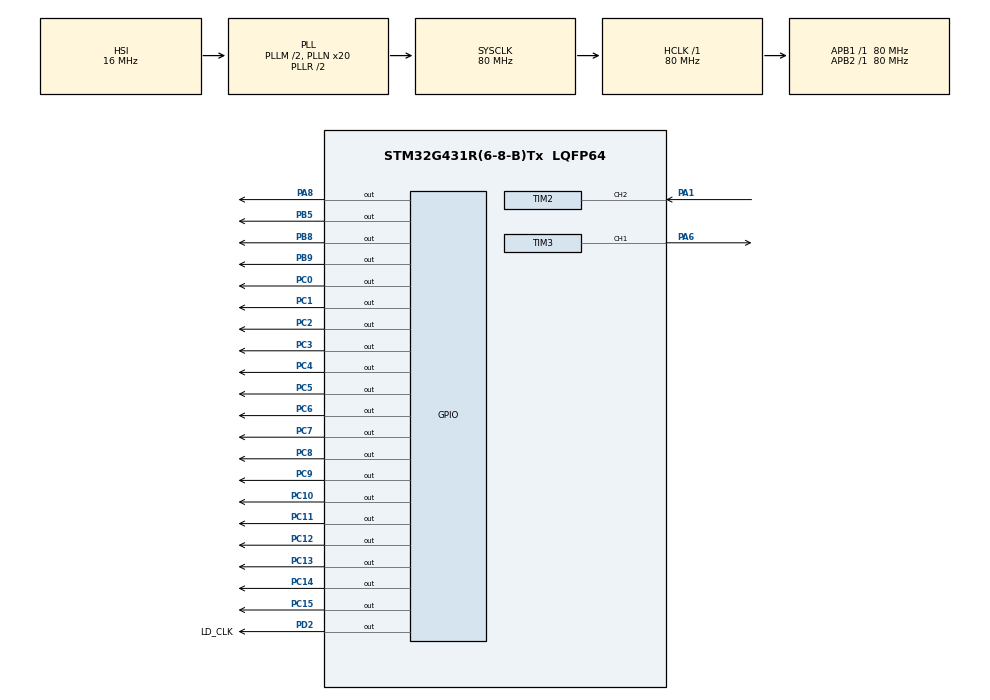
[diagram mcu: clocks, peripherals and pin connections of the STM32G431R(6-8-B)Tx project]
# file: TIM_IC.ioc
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Mcu.Family=STM32G4
Mcu.Name=STM32G431R(6-8-B)Tx
Mcu.Package=LQFP64
NVIC.PriorityGroup=NVIC_PRIORITYGROUP_4
NVIC.TIM2_IRQn=true\:0\:0\:false\:false\:true\:true\:true
NVIC.TIM3_IRQn=true\:0\:0\:false\:false\:true\:true\:true
PA1.Signal=S_TIM2_CH2
PA6.Signal=S_TIM3_CH1
PA8.Signal=GPIO_Output
PB5.Signal=GPIO_Output
PB8-BOOT0.Signal=GPIO_Output
PB9.Signal=GPIO_Output
PC0.Signal=GPIO_Output
PC1.Signal=GPIO_Output
PC10.Signal=GPIO_Output
PC11.Signal=GPIO_Output
PC12.Signal=GPIO_Output
PC13.Signal=GPIO_Output
PC14-OSC32_IN.Signal=GPIO_Output
PC15-OSC32_OUT.Signal=GPIO_Output
PC2.Signal=GPIO_Output
PC3.Signal=GPIO_Output
PC4.Signal=GPIO_Output
PC5.Signal=GPIO_Output
PC6.Signal=GPIO_Output
PC7.Signal=GPIO_Output
PC8.Signal=GPIO_Output
PC9.Signal=GPIO_Output
PD2.GPIO_Label=LD_CLK
PD2.Signal=GPIO_Output
PF0-OSC_IN.Mode=HSE-External-Oscillator
PF0-OSC_IN.Signal=RCC_OSC_IN
PF1-OSC_OUT.Mode=HSE-External-Oscillator
PF1-OSC_OUT.Signal=RCC_OSC_OUT
ProjectManager.HeapSize=0x200
ProjectManager.StackSize=0x400
ProjectManager.TargetToolchain=MDK-ARM V5.27
RCC.ADC12Freq_Value=80000000
RCC.AHBFreq_Value=80000000
RCC.APB1Freq_Value=80000000
RCC.APB1TimFreq_Value=80000000
RCC.APB2Freq_Value=80000000
RCC.APB2TimFreq_Value=80000000
RCC.CortexFreq_Value=80000000
RCC.EXTERNAL_CLOCK_VALUE=12288000
RCC.HCLKFreq_Value=80000000
RCC.HSE_VALUE=24000000
RCC.HSI48_VALUE=48000000
RCC.HSI_VALUE=16000000
RCC.LSE_VALUE=32768
RCC.PLLM=RCC_PLLM_DIV2
RCC.PLLN=20
RCC.SYSCLKFreq_VALUE=80000000
RCC.SYSCLKSource=RCC_SYSCLKSOURCE_PLLCLK
RCC.USBFreq_Value=80000000
RCC.VCOOutputFreq_Value=160000000
SH.S_TIM2_CH2.0=TIM2_CH2,Input_Capture2_from_TI2
SH.S_TIM3_CH1.0=TIM3_CH1,PWM Generation1 CH1
TIM2.Channel-Input_Capture2_from_TI2=TIM_CHANNEL_2
TIM2.PeriodNoDither=0xffffffff
TIM3.Channel-PWM\ Generation1\ CH1=TIM_CHANNEL_1
TIM3.PeriodNoDither=10-1
TIM3.Prescaler=80-1
TIM3.PulseNoDither_1=2
VP_SYS_VS_DBSignals.Mode=DisableDeadBatterySignals
VP_TIM2_VS_ClockSourceINT.Mode=Internal
VP_TIM3_VS_ClockSourceINT.Mode=Internal
board=custom

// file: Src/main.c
/* USER CODE BEGIN Header */
/**
  ******************************************************************************
  * @file           : main.c
  * @brief          : Main program body
  ******************************************************************************
  * @attention
  *
  * <h2><center>&copy; Copyright (c) 2021 STMicroelectronics.
  * All rights reserved.</center></h2>
  *
  * This software component is licensed by ST under BSD 3-Clause license,
  * the "License"; You may not use this file except in compliance with the
  * License. You may obtain a copy of the License at:
  *                        opensource.org/licenses/BSD-3-Clause
  *
  ******************************************************************************
  */
/* USER CODE END Header */
#include "main.h"

/* USER CODE BEGIN Includes */
#include <stdio.h>
#include "lcd.h"
/* USER CODE END Includes */

TIM_HandleTypeDef htim2;
TIM_HandleTypeDef htim3;

/* USER CODE BEGIN PV */
/* Captured Value */
__IO uint32_t            uwIC2Value = 0;
/* Duty Cycle Value */
__IO uint32_t            uwDutyCycle = 0;
/* Frequency Value */
__IO uint32_t            uwFrequency = 0;

uint8_t buf[30];
/* USER CODE END PV */

void SystemClock_Config(void);
static void MX_GPIO_Init(void);
static void MX_TIM2_Init(void);
static void MX_TIM3_Init(void);

int main(void)
{

  /* MCU Configuration--------------------------------------------------------*/

  /* Reset of all peripherals, Initializes the Flash interface and the Systick. */
  HAL_Init();

  /* Configure the system clock */
  SystemClock_Config();

  /* Initialize all configured peripherals */
  MX_GPIO_Init();
  MX_TIM2_Init();
  MX_TIM3_Init();
  /* USER CODE BEGIN 2 */
	LCD_Init();
	LCD_Clear(White);
	LCD_SetBackColor(White);
	LCD_SetTextColor(Black);
	HAL_TIM_PWM_Start(&htim3, TIM_CHANNEL_1);
	HAL_TIM_IC_Start_IT(&htim2, TIM_CHANNEL_2);
  /* USER CODE END 2 */

  /* Infinite loop */
  while (1)
  {

  }
}

void SystemClock_Config(void)
{
  RCC_OscInitTypeDef RCC_OscInitStruct = {0};
  RCC_ClkInitTypeDef RCC_ClkInitStruct = {0};

  /** Configure the main internal regulator output voltage
  */
  HAL_PWREx_ControlVoltageScaling(PWR_REGULATOR_VOLTAGE_SCALE1);
  /** Initializes the RCC Oscillators according to the specified parameters
  * in the RCC_OscInitTypeDef structure.
  */
  RCC_OscInitStruct.OscillatorType = RCC_OSCILLATORTYPE_HSI;
  RCC_OscInitStruct.HSIState = RCC_HSI_ON;
  RCC_OscInitStruct.HSICalibrationValue = RCC_HSICALIBRATION_DEFAULT;
  RCC_OscInitStruct.PLL.PLLState = RCC_PLL_ON;
  RCC_OscInitStruct.PLL.PLLSource = RCC_PLLSOURCE_HSI;
  RCC_OscInitStruct.PLL.PLLM = RCC_PLLM_DIV2;
  RCC_OscInitStruct.PLL.PLLN = 20;
  RCC_OscInitStruct.PLL.PLLP = RCC_PLLP_DIV2;
  RCC_OscInitStruct.PLL.PLLQ = RCC_PLLQ_DIV2;
  RCC_OscInitStruct.PLL.PLLR = RCC_PLLR_DIV2;
  if (HAL_RCC_OscConfig(&RCC_OscInitStruct) != HAL_OK)
  {
    Error_Handler();
  }
  /** Initializes the CPU, AHB and APB buses clocks
  */
  RCC_ClkInitStruct.ClockType = RCC_CLOCKTYPE_HCLK|RCC_CLOCKTYPE_SYSCLK
                              |RCC_CLOCKTYPE_PCLK1|RCC_CLOCKTYPE_PCLK2;
  RCC_ClkInitStruct.SYSCLKSource = RCC_SYSCLKSOURCE_PLLCLK;
  RCC_ClkInitStruct.AHBCLKDivider = RCC_SYSCLK_DIV1;
  RCC_ClkInitStruct.APB1CLKDivider = RCC_HCLK_DIV1;
  RCC_ClkInitStruct.APB2CLKDivider = RCC_HCLK_DIV1;

  if (HAL_RCC_ClockConfig(&RCC_ClkInitStruct, FLASH_LATENCY_2) != HAL_OK)
  {
    Error_Handler();
  }
}

static void MX_TIM2_Init(void)
{

  TIM_ClockConfigTypeDef sClockSourceConfig = {0};
  TIM_MasterConfigTypeDef sMasterConfig = {0};
  TIM_IC_InitTypeDef sConfigIC = {0};

  htim2.Instance = TIM2;
  htim2.Init.Prescaler = 0;
  htim2.Init.CounterMode = TIM_COUNTERMODE_UP;
  htim2.Init.Period = 0xFFFFFFF;
  htim2.Init.ClockDivision = TIM_CLOCKDIVISION_DIV1;
  htim2.Init.AutoReloadPreload = TIM_AUTORELOAD_PRELOAD_DISABLE;
  if (HAL_TIM_Base_Init(&htim2) != HAL_OK)
  {
    Error_Handler();
  }
  sClockSourceConfig.ClockSource = TIM_CLOCKSOURCE_INTERNAL;
  if (HAL_TIM_ConfigClockSource(&htim2, &sClockSourceConfig) != HAL_OK)
  {
    Error_Handler();
  }
  if (HAL_TIM_IC_Init(&htim2) != HAL_OK)
  {
    Error_Handler();
  }
  sMasterConfig.MasterOutputTrigger = TIM_TRGO_RESET;
  sMasterConfig.MasterSlaveMode = TIM_MASTERSLAVEMODE_DISABLE;
  if (HAL_TIMEx_MasterConfigSynchronization(&htim2, &sMasterConfig) != HAL_OK)
  {
    Error_Handler();
  }
  sConfigIC.ICPolarity = TIM_INPUTCHANNELPOLARITY_RISING;
  sConfigIC.ICSelection = TIM_ICSELECTION_DIRECTTI;
  sConfigIC.ICPrescaler = TIM_ICPSC_DIV1;
  sConfigIC.ICFilter = 0;
  if (HAL_TIM_IC_ConfigChannel(&htim2, &sConfigIC, TIM_CHANNEL_2) != HAL_OK)
  {
    Error_Handler();
  }

}

static void MX_TIM3_Init(void)
{

  TIM_ClockConfigTypeDef sClockSourceConfig = {0};
  TIM_MasterConfigTypeDef sMasterConfig = {0};
  TIM_OC_InitTypeDef sConfigOC = {0};

  htim3.Instance = TIM3;
  htim3.Init.Prescaler = 8-1;
  htim3.Init.CounterMode = TIM_COUNTERMODE_UP;
  htim3.Init.Period = 40;
  htim3.Init.ClockDivision = TIM_CLOCKDIVISION_DIV1;
  htim3.Init.AutoReloadPreload = TIM_AUTORELOAD_PRELOAD_DISABLE;
  if (HAL_TIM_Base_Init(&htim3) != HAL_OK)
  {
    Error_Handler();
  }
  sClockSourceConfig.ClockSource = TIM_CLOCKSOURCE_INTERNAL;
  if (HAL_TIM_ConfigClockSource(&htim3, &sClockSourceConfig) != HAL_OK)
  {
    Error_Handler();
  }
  if (HAL_TIM_PWM_Init(&htim3) != HAL_OK)
  {
    Error_Handler();
  }
  sMasterConfig.MasterOutputTrigger = TIM_TRGO_RESET;
  sMasterConfig.MasterSlaveMode = TIM_MASTERSLAVEMODE_DISABLE;
  if (HAL_TIMEx_MasterConfigSynchronization(&htim3, &sMasterConfig) != HAL_OK)
  {
    Error_Handler();
  }
  sConfigOC.OCMode = TIM_OCMODE_PWM1;
  sConfigOC.Pulse = 10;
  sConfigOC.OCPolarity = TIM_OCPOLARITY_HIGH;
  sConfigOC.OCFastMode = TIM_OCFAST_DISABLE;
  if (HAL_TIM_PWM_ConfigChannel(&htim3, &sConfigOC, TIM_CHANNEL_1) != HAL_OK)
  {
    Error_Handler();
  }
  HAL_TIM_MspPostInit(&htim3);

}

static void MX_GPIO_Init(void)
{
  GPIO_InitTypeDef GPIO_InitStruct = {0};

  /* GPIO Ports Clock Enable */
  __HAL_RCC_GPIOC_CLK_ENABLE();
  __HAL_RCC_GPIOF_CLK_ENABLE();
  __HAL_RCC_GPIOA_CLK_ENABLE();
  __HAL_RCC_GPIOD_CLK_ENABLE();
  __HAL_RCC_GPIOB_CLK_ENABLE();

  /*Configure GPIO pin Output Level */
  HAL_GPIO_WritePin(GPIOC, GPIO_PIN_13|GPIO_PIN_14|GPIO_PIN_15|GPIO_PIN_0
                          |GPIO_PIN_1|GPIO_PIN_2|GPIO_PIN_3|GPIO_PIN_4
                          |GPIO_PIN_5|GPIO_PIN_6|GPIO_PIN_7|GPIO_PIN_8
                          |GPIO_PIN_9|GPIO_PIN_10|GPIO_PIN_11|GPIO_PIN_12, GPIO_PIN_RESET);

  /*Configure GPIO pin Output Level */
  HAL_GPIO_WritePin(GPIOA, GPIO_PIN_8, GPIO_PIN_RESET);

  /*Configure GPIO pin Output Level */
  HAL_GPIO_WritePin(LD_CLK_GPIO_Port, LD_CLK_Pin, GPIO_PIN_RESET);

  /*Configure GPIO pin Output Level */
  HAL_GPIO_WritePin(GPIOB, GPIO_PIN_5|GPIO_PIN_8|GPIO_PIN_9, GPIO_PIN_RESET);

  /*Configure GPIO pins : PC13 PC14 PC15 PC0
                           PC1 PC2 PC3 PC4
                           PC5 PC6 PC7 PC8
                           PC9 PC10 PC11 PC12 */
  GPIO_InitStruct.Pin = GPIO_PIN_13|GPIO_PIN_14|GPIO_PIN_15|GPIO_PIN_0
                          |GPIO_PIN_1|GPIO_PIN_2|GPIO_PIN_3|GPIO_PIN_4
                          |GPIO_PIN_5|GPIO_PIN_6|GPIO_PIN_7|GPIO_PIN_8
                          |GPIO_PIN_9|GPIO_PIN_10|GPIO_PIN_11|GPIO_PIN_12;
  GPIO_InitStruct.Mode = GPIO_MODE_OUTPUT_PP;
  GPIO_InitStruct.Pull = GPIO_NOPULL;
  GPIO_InitStruct.Speed = GPIO_SPEED_FREQ_LOW;
  HAL_GPIO_Init(GPIOC, &GPIO_InitStruct);

  /*Configure GPIO pin : PA8 */
  GPIO_InitStruct.Pin = GPIO_PIN_8;
  GPIO_InitStruct.Mode = GPIO_MODE_OUTPUT_PP;
  GPIO_InitStruct.Pull = GPIO_NOPULL;
  GPIO_InitStruct.Speed = GPIO_SPEED_FREQ_LOW;
  HAL_GPIO_Init(GPIOA, &GPIO_InitStruct);

  /*Configure GPIO pin : LD_CLK_Pin */
  GPIO_InitStruct.Pin = LD_CLK_Pin;
  GPIO_InitStruct.Mode = GPIO_MODE_OUTPUT_PP;
  GPIO_InitStruct.Pull = GPIO_NOPULL;
  GPIO_InitStruct.Speed = GPIO_SPEED_FREQ_LOW;
  HAL_GPIO_Init(LD_CLK_GPIO_Port, &GPIO_InitStruct);

  /*Configure GPIO pins : PB5 PB8 PB9 */
  GPIO_InitStruct.Pin = GPIO_PIN_5|GPIO_PIN_8|GPIO_PIN_9;
  GPIO_InitStruct.Mode = GPIO_MODE_OUTPUT_PP;
  GPIO_InitStruct.Pull = GPIO_NOPULL;
  GPIO_InitStruct.Speed = GPIO_SPEED_FREQ_LOW;
  HAL_GPIO_Init(GPIOB, &GPIO_InitStruct);

}
uint8_t uhCaptureIndex;
uint32_t uwDiffCapture, uwIC2Value1, uwIC2Value2;
/* USER CODE BEGIN 4 */
void HAL_TIM_IC_CaptureCallback(TIM_HandleTypeDef *htim)
{
  if (htim->Channel == HAL_TIM_ACTIVE_CHANNEL_2)
  {
    if(uhCaptureIndex == 0)
    {
      /* Get the 1st Input Capture value */
      uwIC2Value1 = HAL_TIM_ReadCapturedValue(&htim2, TIM_CHANNEL_2);
      uhCaptureIndex = 1;
    }
    else if(uhCaptureIndex == 1)
    {
      /* Get the 2nd Input Capture value */
      uwIC2Value2 = HAL_TIM_ReadCapturedValue(&htim2, TIM_CHANNEL_2);

      /* Capture computation */
      if (uwIC2Value2 > uwIC2Value1)
      {
        uwDiffCapture = (uwIC2Value2 - uwIC2Value1);
      }
      else if (uwIC2Value2 < uwIC2Value1)
      {
        /* 0xFFFF is max TIM1_CCRx value */
        uwDiffCapture = ((0XFFFFFFFF - uwIC2Value1) + uwIC2Value2) + 1;
      }
      else
      {
        /* If capture values are equal, we have reached the limit of frequency
           measures */
        Error_Handler();
      }

      /* Frequency computation: for this example TIMx (TIM1) is clocked by
         APB2Clk */
      uwFrequency = HAL_RCC_GetPCLK2Freq() / uwDiffCapture;
      uhCaptureIndex = 0;
			sprintf((char *)buf, "%d", uwFrequency);
			LCD_DisplayStringLine(Line1, buf);
    }
  }
}
/* USER CODE END 4 */

void Error_Handler(void)
{
  __disable_irq();
  while (1)
  {
  }
}

/************************ (C) COPYRIGHT STMicroelectronics *****END OF FILE****/
